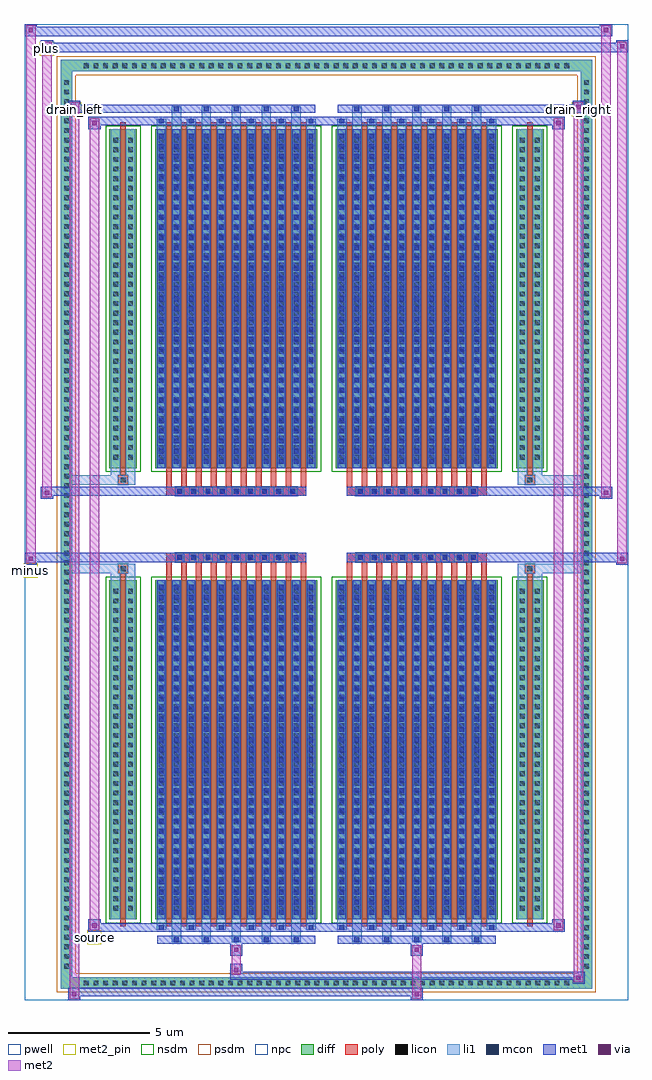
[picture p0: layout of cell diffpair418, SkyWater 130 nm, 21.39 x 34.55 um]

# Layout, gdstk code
import gdstk
lib = gdstk.Library(unit=1e-6, precision=5e-09)
def R(c, l, rs):  # rectangles x0, y0, x1, y1
    for r in rs: c.add(gdstk.rectangle(r[:2], r[2:], *l))
def A(c, l, x, y, w, h, nx, ny, dx, dy):  # array of equal rectangles
    R(c, l, [(x+i*dx, y+j*dy, x+i*dx+w, y+j*dy+h) for i in range(nx) for j in range(ny)])
def P(c, l, *ps):  # polygons
    for p in ps: c.add(gdstk.Polygon(p, *l))
pwell = (64, 44)
diff = (65, 20)
poly = (66, 20)
licon = (66, 44)
li1 = (67, 20)
mcon = (67, 44)
met1 = (68, 20)
via = (68, 44)
met2_pin = (69, 16)
met2 = (69, 20)
nsdm = (93, 44)
psdm = (94, 20)
npc = (95, 20)

diffpair418 = lib.new_cell('diffpair418')
R(diffpair418, pwell, [(-10.68,-16.84,10.68,17.71), (-8,-15.03,-0.01,-0.805), (0.01,-15.03,8,-0.805), (-8,0.805,-0.01,15.03), (0.01,0.805,8,15.03)])
A(diffpair418, diff, -8.705, -16.44, 0.41, 0.41, 51, 2, 0.34, 32.47)
A(diffpair418, diff, -9.41, -15.845, 0.41, 0.41, 1, 93, 0, 0.34)
A(diffpair418, diff, 9, -15.845, 0.41, 0.41, 1, 93, 0, 0.34)
R(diffpair418, diff, [(-8.705,-16.44,8.705,-16.03), (-9.41,-15.845,-9,15.845), (9,-15.845,9.41,15.845), (-7.69,-13.985,-6.71,-1.985), (-6.07,-13.985,-0.32,-1.985), (0.32,-13.985,6.07,-1.985), (6.71,-13.985,7.69,-1.985), (-7.69,1.985,-6.71,13.985), (-6.07,1.985,-0.32,13.985), (0.32,1.985,6.07,13.985), (6.71,1.985,7.69,13.985), (-8.705,16.03,8.705,16.44)])
P(diffpair418, diff, [(9.41,16.44),(-9.41,16.44),(-9.41,-16.03),(-9,-16.03),(-9,16.03),(9,16.03),(9,-16.03),(-9,-16.03),(-9.41,-16.03),(-9.41,-16.44),(9.41,-16.44)])
A(diffpair418, poly, -5.68, -14.235, 0.2, 12.5, 10, 2, 0.53, 15.97)
A(diffpair418, poly, 0.71, -14.235, 0.2, 12.5, 10, 2, 0.53, 15.97)
A(diffpair418, poly, -5.68, -1.735, 0.2, 0.4, 10, 2, 0.53, 3.07)
A(diffpair418, poly, 0.71, -1.735, 0.2, 0.4, 10, 2, 0.53, 3.07)
A(diffpair418, poly, -5.36, -1.335, 0.33, 0.33, 9, 2, 0.5, 2.34)
A(diffpair418, poly, 1.03, -1.335, 0.33, 0.33, 9, 2, 0.5, 2.34)
R(diffpair418, poly, [(-7.3,-14.235,-7.1,-1.735), (7.1,-14.235,7.3,-1.735), (-7.365,-1.735,-7.035,-1.405), (-7.365,-1.735,-7.035,-1.405), (7.035,-1.735,7.365,-1.405), (7.035,-1.735,7.365,-1.405), (-5.68,-1.335,-0.71,-1.005), (0.71,-1.335,5.68,-1.005), (-5.68,1.005,-0.71,1.335), (0.71,1.005,5.68,1.335), (-7.365,1.405,-7.035,1.735), (-7.365,1.405,-7.035,1.735), (7.035,1.405,7.365,1.735), (7.035,1.405,7.365,1.735), (-7.3,1.735,-7.1,14.235), (7.1,1.735,7.3,14.235)])
A(diffpair418, licon, -8.585, -16.32, 0.17, 0.17, 51, 2, 0.34, 32.47)
A(diffpair418, licon, -9.29, -15.725, 0.17, 0.17, 1, 93, 0, 0.34)
A(diffpair418, licon, 9.12, -15.725, 0.17, 0.17, 1, 93, 0, 0.34)
A(diffpair418, licon, -7.55, -13.68, 0.17, 0.17, 1, 34, 0, 0.34)
A(diffpair418, licon, -7.02, -13.68, 0.17, 0.17, 1, 34, 0, 0.34)
A(diffpair418, licon, -5.93, -13.68, 0.17, 0.17, 11, 34, 0.53, 0.34)
A(diffpair418, licon, 0.46, -13.68, 0.17, 0.17, 11, 34, 0.53, 0.34)
A(diffpair418, licon, 6.85, -13.68, 0.17, 0.17, 1, 34, 0, 0.34)
A(diffpair418, licon, 7.38, -13.68, 0.17, 0.17, 1, 34, 0, 0.34)
A(diffpair418, licon, -5.28, -1.255, 0.17, 0.17, 9, 2, 0.5, 2.34)
A(diffpair418, licon, 1.11, -1.255, 0.17, 0.17, 9, 2, 0.5, 2.34)
A(diffpair418, licon, -7.55, 2.29, 0.17, 0.17, 1, 34, 0, 0.34)
A(diffpair418, licon, -7.02, 2.29, 0.17, 0.17, 1, 34, 0, 0.34)
A(diffpair418, licon, -5.93, 2.29, 0.17, 0.17, 11, 34, 0.53, 0.34)
A(diffpair418, licon, 0.46, 2.29, 0.17, 0.17, 11, 34, 0.53, 0.34)
A(diffpair418, licon, 6.85, 2.29, 0.17, 0.17, 1, 34, 0, 0.34)
A(diffpair418, licon, 7.38, 2.29, 0.17, 0.17, 1, 34, 0, 0.34)
R(diffpair418, licon, [(-7.285,-1.655,-7.115,-1.485), (7.115,-1.655,7.285,-1.485), (-7.285,1.485,-7.115,1.655), (7.115,1.485,7.285,1.655)])
A(diffpair418, li1, -8.665, -16.4, 0.33, 0.33, 51, 2, 0.34, 32.47)
A(diffpair418, li1, -9.37, -15.805, 0.33, 0.33, 1, 93, 0, 0.34)
A(diffpair418, li1, 9.04, -15.805, 0.33, 0.33, 1, 93, 0, 0.34)
A(diffpair418, li1, -5.48, -14.79, 0.33, 0.805, 5, 2, 1.06, 28.775)
A(diffpair418, li1, -5.4, -14.79, 0.17, 0.17, 5, 2, 1.06, 29.41)
A(diffpair418, li1, 0.91, -14.79, 0.33, 0.805, 5, 2, 1.06, 28.775)
A(diffpair418, li1, 0.99, -14.79, 0.17, 0.17, 5, 2, 1.06, 29.41)
A(diffpair418, li1, -6.01, -14.36, 0.33, 0.375, 6, 2, 1.06, 28.345)
A(diffpair418, li1, -5.93, -14.36, 0.17, 0.17, 6, 2, 1.06, 28.55)
A(diffpair418, li1, 0.38, -14.36, 0.33, 0.375, 6, 2, 1.06, 28.345)
A(diffpair418, li1, 0.46, -14.36, 0.17, 0.17, 6, 2, 1.06, 28.55)
A(diffpair418, li1, -6.01, -13.985, 0.33, 12, 11, 2, 0.53, 15.97)
A(diffpair418, li1, 0.38, -13.985, 0.33, 12, 11, 2, 0.53, 15.97)
A(diffpair418, li1, -5.93, -13.83, 0.17, 0.17, 11, 33, 0.53, 0.36)
A(diffpair418, li1, -5.93, -13.83, 0.17, 11.69, 11, 2, 0.53, 15.97)
A(diffpair418, li1, 0.46, -13.83, 0.17, 0.17, 11, 33, 0.53, 0.36)
A(diffpair418, li1, 0.46, -13.83, 0.17, 11.69, 11, 2, 0.53, 15.97)
A(diffpair418, li1, -7.63, -13.76, 0.33, 0.33, 1, 34, 0, 0.34)
A(diffpair418, li1, -7.1, -13.76, 0.33, 0.33, 1, 34, 0, 0.34)
A(diffpair418, li1, -6.01, -13.76, 0.33, 0.33, 11, 34, 0.53, 0.34)
A(diffpair418, li1, 0.38, -13.76, 0.33, 0.33, 11, 34, 0.53, 0.34)
A(diffpair418, li1, 6.77, -13.76, 0.33, 0.33, 1, 34, 0, 0.34)
A(diffpair418, li1, 7.3, -13.76, 0.33, 0.33, 1, 34, 0, 0.34)
A(diffpair418, li1, -5.36, -1.335, 0.33, 0.33, 9, 2, 0.5, 2.34)
A(diffpair418, li1, 1.03, -1.335, 0.33, 0.33, 9, 2, 0.5, 2.34)
A(diffpair418, li1, -5.93, 2.14, 0.17, 0.17, 11, 33, 0.53, 0.36)
A(diffpair418, li1, 0.46, 2.14, 0.17, 0.17, 11, 33, 0.53, 0.36)
A(diffpair418, li1, -7.63, 2.21, 0.33, 0.33, 1, 34, 0, 0.34)
A(diffpair418, li1, -7.1, 2.21, 0.33, 0.33, 1, 34, 0, 0.34)
A(diffpair418, li1, -6.01, 2.21, 0.33, 0.33, 11, 34, 0.53, 0.34)
A(diffpair418, li1, 0.38, 2.21, 0.33, 0.33, 11, 34, 0.53, 0.34)
A(diffpair418, li1, 6.77, 2.21, 0.33, 0.33, 1, 34, 0, 0.34)
A(diffpair418, li1, 7.3, 2.21, 0.33, 0.33, 1, 34, 0, 0.34)
R(diffpair418, li1, [(-9.41,-16.44,-9,-16.03), (-9.41,-16.44,-9,-16.03), (-9,-16.44,9,-16.03), (9,-16.44,9.41,-16.03), (9,-16.44,9.41,-16.03), (-9.41,-16.03,-9,16.03), (9,-16.03,9.41,16.03), (-7.63,-13.985,-7.3,-1.985), (-7.1,-13.985,-6.77,-1.985), (6.77,-13.985,7.1,-1.985), (7.3,-13.985,7.63,-1.985), (-7.63,-1.985,-7.3,-1.405), (-7.1,-1.985,-6.77,-1.405), (6.77,-1.985,7.1,-1.405), (7.3,-1.985,7.63,-1.405), (-9.41,-1.735,-7.365,-1.405), (-7.63,-1.735,-7.365,-1.405), (-7.365,-1.735,-7.035,-1.405), (-7.035,-1.735,-6.77,-1.405), (6.77,-1.735,7.035,-1.405), (7.035,-1.735,7.365,-1.405), (7.035,-1.735,9.41,-1.405), (7.365,-1.735,7.63,-1.405), (-9.41,1.405,-7.365,1.735), (-7.63,1.405,-7.365,1.735), (-7.63,1.405,-7.3,1.985), (-7.365,1.405,-7.035,1.735), (-7.1,1.405,-6.77,1.985), (-7.035,1.405,-6.77,1.735), (6.77,1.405,7.035,1.735), (6.77,1.405,7.1,1.985), (7.035,1.405,7.365,1.735), (7.035,1.405,9.41,1.735), (7.3,1.405,7.63,1.985), (7.365,1.405,7.63,1.735), (-7.63,1.985,-7.3,13.985), (-7.1,1.985,-6.77,13.985), (6.77,1.985,7.1,13.985), (7.3,1.985,7.63,13.985), (-9.41,16.03,-9,16.44), (-9.41,16.03,-9,16.44), (-9,16.03,9,16.44), (9,16.03,9.41,16.44), (9,16.03,9.41,16.44)])
A(diffpair418, mcon, -5.4, -14.79, 0.17, 0.17, 5, 2, 1.06, 29.41)
A(diffpair418, mcon, 0.99, -14.79, 0.17, 0.17, 5, 2, 1.06, 29.41)
A(diffpair418, mcon, -5.93, -14.36, 0.17, 0.17, 6, 2, 1.06, 28.55)
A(diffpair418, mcon, 0.46, -14.36, 0.17, 0.17, 6, 2, 1.06, 28.55)
A(diffpair418, mcon, -5.93, -13.83, 0.17, 0.17, 11, 33, 0.53, 0.36)
A(diffpair418, mcon, 0.46, -13.83, 0.17, 0.17, 11, 33, 0.53, 0.36)
A(diffpair418, mcon, -5.28, -1.255, 0.17, 0.17, 9, 2, 0.5, 2.34)
A(diffpair418, mcon, 1.11, -1.255, 0.17, 0.17, 9, 2, 0.5, 2.34)
A(diffpair418, mcon, -5.93, 2.14, 0.17, 0.17, 11, 33, 0.53, 0.36)
A(diffpair418, mcon, 0.46, 2.14, 0.17, 0.17, 11, 33, 0.53, 0.36)
A(diffpair418, met1, -5.46, -14.85, 0.29, 0.29, 5, 2, 1.06, 29.41)
A(diffpair418, met1, 0.93, -14.85, 0.29, 0.29, 5, 2, 1.06, 29.41)
A(diffpair418, met1, -5.99, -14.42, 0.29, 0.29, 6, 2, 1.06, 28.55)
A(diffpair418, met1, 0.4, -14.42, 0.29, 0.29, 6, 2, 1.06, 28.55)
A(diffpair418, met1, -5.99, -13.985, 0.29, 12, 11, 2, 0.53, 15.97)
A(diffpair418, met1, 0.4, -13.985, 0.29, 12, 11, 2, 0.53, 15.97)
A(diffpair418, met1, -5.99, -13.89, 0.29, 0.29, 11, 33, 0.53, 0.36)
A(diffpair418, met1, 0.4, -13.89, 0.29, 0.29, 11, 33, 0.53, 0.36)
A(diffpair418, met1, -5.34, -1.315, 0.29, 0.29, 9, 2, 0.5, 2.34)
A(diffpair418, met1, 1.05, -1.315, 0.29, 0.29, 9, 2, 0.5, 2.34)
A(diffpair418, met1, -5.99, 2.08, 0.29, 0.29, 11, 33, 0.53, 0.36)
A(diffpair418, met1, 0.4, 2.08, 0.29, 0.29, 11, 33, 0.53, 0.36)
R(diffpair418, met1, [(-9.14,-16.84,-8.71,-16.41), (2.98,-16.84,3.41,-16.41), (-9.14,-16.7,3.41,-16.41), (8.71,-16.27,9.14,-15.84), (-3.41,-16.13,9.14,-15.84), (-3.41,-15.99,-2.98,-15.56), (-3.41,-15.28,-2.98,-14.85), (2.98,-15.28,3.41,-14.85), (-5.99,-14.85,-0.4,-14.56), (0.4,-14.85,5.99,-14.56), (-8.43,-14.42,-8,-13.99), (-8.43,-14.42,-5.99,-14.13), (-5.99,-14.42,-0.4,-14.13), (-0.4,-14.42,0.4,-14.13), (0.4,-14.42,5.99,-14.13), (5.99,-14.42,8.43,-14.13), (8,-14.42,8.43,-13.99), (-10.68,-1.435,-10.25,-1.005), (10.25,-1.435,10.68,-1.005), (-10.68,-1.335,-0.71,-1.005), (-5.68,-1.335,-0.71,-1.005), (0.71,-1.335,5.68,-1.005), (0.71,-1.335,10.68,-1.005), (-10.11,0.905,-9.68,1.335), (9.68,0.905,10.11,1.335), (-10.11,1.005,-5.68,1.335), (-5.68,1.005,-0.71,1.335), (0.71,1.005,5.68,1.335), (5.68,1.005,10.11,1.335), (-8.43,13.99,-8,14.42), (8,13.99,8.43,14.42), (-8.43,14.13,-5.99,14.42), (-5.99,14.13,-0.4,14.42), (-0.4,14.13,0.4,14.42), (0.4,14.13,5.99,14.42), (5.99,14.13,8.43,14.42), (-9.14,14.56,-8.71,14.99), (-9.14,14.56,-5.99,14.85), (-5.99,14.56,-0.4,14.85), (0.4,14.56,5.99,14.85), (5.99,14.56,9.14,14.85), (8.71,14.56,9.14,14.99), (-10.11,16.71,-9.68,17.14), (-10.11,16.71,-8,17.04), (-8,16.71,8,17.04), (8,16.71,10.68,17.04), (10.25,16.71,10.68,17.14), (-10.68,17.28,-10.25,17.71), (-10.68,17.28,-8,17.61), (-8,17.28,8,17.61), (8,17.28,10.11,17.61), (9.68,17.28,10.11,17.71)])
R(diffpair418, via, [(-9,-16.7,-8.85,-16.55), (3.12,-16.7,3.27,-16.55), (8.85,-16.13,9,-15.98), (-3.27,-15.85,-3.12,-15.7), (-3.27,-15.14,-3.12,-14.99), (3.12,-15.14,3.27,-14.99), (-8.29,-14.28,-8.14,-14.13), (8.14,-14.28,8.29,-14.13), (-10.54,-1.295,-10.39,-1.145), (10.39,-1.295,10.54,-1.145), (-9.97,1.045,-9.82,1.195), (9.82,1.045,9.97,1.195), (-8.29,14.13,-8.14,14.28), (8.14,14.13,8.29,14.28), (-9,14.7,-8.85,14.85), (8.85,14.7,9,14.85), (-9.97,16.85,-9.82,17), (10.39,16.85,10.54,17), (-10.54,17.42,-10.39,17.57), (9.82,17.42,9.97,17.57)])
R(diffpair418, met2_pin, [(-8.465,-14.87,-7.965,-14.37), (-10.715,-1.885,-10.215,-1.385), (-9.175,14.44,-8.675,14.94), (8.675,14.44,9.175,14.94), (-10.145,16.59,-9.645,17.09)])
R(diffpair418, met2, [(-9.09,-16.79,-8.76,-16.46), (-9.09,-16.79,-8.76,14.94), (3.03,-16.79,3.36,-16.46), (3.03,-16.46,3.36,-15.23), (8.76,-16.22,9.09,-15.89), (8.76,-16.22,9.09,14.94), (-3.36,-15.94,-3.03,-15.61), (-3.36,-15.61,-3.03,-15.23), (-3.36,-15.23,-3.03,-14.9), (3.03,-15.23,3.36,-14.9), (-8.38,-14.37,-8.05,-14.04), (-8.38,-14.37,-8.05,14.37), (8.05,-14.37,8.38,-14.04), (8.05,-14.37,8.38,14.37), (-10.63,-1.385,-10.3,-1.055), (-10.63,-1.385,-10.3,17.66), (10.3,-1.385,10.63,-1.055), (10.3,-1.385,10.63,17.09), (-10.06,0.955,-9.73,1.285), (-10.06,0.955,-9.73,17.09), (9.73,0.955,10.06,1.285), (9.73,0.955,10.06,17.66), (-8.38,14.04,-8.05,14.37), (8.05,14.04,8.38,14.37), (-9.09,14.61,-8.76,14.94), (8.76,14.61,9.09,14.94), (-10.06,16.76,-9.73,17.09), (10.3,16.76,10.63,17.09), (-10.63,17.33,-10.3,17.66), (9.73,17.33,10.06,17.66)])
P(diffpair418, met2, [(10.63,-1.385),(10.63,-1.385),(10.63,-1.055),(10.63,-1.055)],
  [(10.63,16.76),(10.63,16.76),(10.63,17.09),(10.63,17.09)],
  [(-10.3,-1.385),(-10.3,-1.385),(-10.3,-1.055),(-10.3,-1.055)],
  [(-10.3,17.33),(-10.3,17.33),(-10.3,17.66),(-10.3,17.66)],
  [(10.06,0.955),(10.06,0.955),(10.06,1.285),(10.06,1.285)],
  [(10.06,17.33),(10.06,17.33),(10.06,17.66),(10.06,17.66)],
  [(-9.73,0.955),(-9.73,0.955),(-9.73,1.285),(-9.73,1.285)],
  [(-9.73,16.76),(-9.73,16.76),(-9.73,17.09),(-9.73,17.09)],
  [(-8.76,-16.79),(-8.76,-16.79),(-8.76,-16.46),(-8.76,-16.46)],
  [(-8.76,14.61),(-8.76,14.61),(-8.76,14.94),(-8.76,14.94)],
  [(9.09,-16.22),(9.09,-16.22),(9.09,-15.89),(9.09,-15.89)],
  [(9.09,14.61),(9.09,14.61),(9.09,14.94),(9.09,14.94)],
  [(-8.05,-14.37),(-8.05,-14.37),(-8.05,-14.04),(-8.05,-14.04)],
  [(-8.05,14.04),(-8.05,14.04),(-8.05,14.37),(-8.05,14.37)],
  [(8.38,-14.37),(8.38,-14.37),(8.38,-14.04),(8.38,-14.04)],
  [(8.38,14.04),(8.38,14.04),(8.38,14.37),(8.38,14.37)])
R(diffpair418, nsdm, [(-7.82,-14.115,-6.58,-1.855), (-6.2,-14.115,-0.19,-1.855), (0.19,-14.115,6.2,-1.855), (6.58,-14.115,7.82,-1.855), (-7.82,1.855,-6.58,14.115), (-6.2,1.855,-0.19,14.115), (0.19,1.855,6.2,14.115), (6.58,1.855,7.82,14.115)])
P(diffpair418, psdm, [(9.54,16.57),(-9.54,16.57),(-9.54,-15.9),(-8.87,-15.9),(-8.87,15.9),(8.87,15.9),(8.87,-15.9),(-8.87,-15.9),(-9.54,-15.9),(-9.54,-16.57),(9.54,-16.57)])
A(diffpair418, npc, -5.38, -1.355, 0.37, 0.37, 9, 2, 0.5, 2.34)
A(diffpair418, npc, 1.01, -1.355, 0.37, 0.37, 9, 2, 0.5, 2.34)
R(diffpair418, npc, [(-7.385,-1.755,-7.015,-1.385), (7.015,-1.755,7.385,-1.385), (-5.38,-1.355,-4.51,-0.985), (-5.38,-1.355,-4.51,-0.985), (-4.88,-1.355,-4.01,-0.985), (-4.88,-1.355,-4.01,-0.985), (-4.38,-1.355,-3.51,-0.985), (-4.38,-1.355,-3.51,-0.985), (-3.88,-1.355,-3.01,-0.985), (-3.88,-1.355,-3.01,-0.985), (-3.38,-1.355,-2.51,-0.985), (-3.38,-1.355,-2.51,-0.985), (-2.88,-1.355,-2.01,-0.985), (-2.88,-1.355,-2.01,-0.985), (-2.38,-1.355,-1.51,-0.985), (-2.38,-1.355,-1.51,-0.985), (-1.88,-1.355,-1.01,-0.985), (-1.88,-1.355,-1.01,-0.985), (1.01,-1.355,1.88,-0.985), (1.01,-1.355,1.88,-0.985), (1.51,-1.355,2.38,-0.985), (1.51,-1.355,2.38,-0.985), (2.01,-1.355,2.88,-0.985), (2.01,-1.355,2.88,-0.985), (2.51,-1.355,3.38,-0.985), (2.51,-1.355,3.38,-0.985), (3.01,-1.355,3.88,-0.985), (3.01,-1.355,3.88,-0.985), (3.51,-1.355,4.38,-0.985), (3.51,-1.355,4.38,-0.985), (4.01,-1.355,4.88,-0.985), (4.01,-1.355,4.88,-0.985), (4.51,-1.355,5.38,-0.985), (4.51,-1.355,5.38,-0.985), (-5.38,0.985,-4.51,1.355), (-5.38,0.985,-4.51,1.355), (-4.88,0.985,-4.01,1.355), (-4.88,0.985,-4.01,1.355), (-4.38,0.985,-3.51,1.355), (-4.38,0.985,-3.51,1.355), (-3.88,0.985,-3.01,1.355), (-3.88,0.985,-3.01,1.355), (-3.38,0.985,-2.51,1.355), (-3.38,0.985,-2.51,1.355), (-2.88,0.985,-2.01,1.355), (-2.88,0.985,-2.01,1.355), (-2.38,0.985,-1.51,1.355), (-2.38,0.985,-1.51,1.355), (-1.88,0.985,-1.01,1.355), (-1.88,0.985,-1.01,1.355), (1.01,0.985,1.88,1.355), (1.01,0.985,1.88,1.355), (1.51,0.985,2.38,1.355), (1.51,0.985,2.38,1.355), (2.01,0.985,2.88,1.355), (2.01,0.985,2.88,1.355), (2.51,0.985,3.38,1.355), (2.51,0.985,3.38,1.355), (3.01,0.985,3.88,1.355), (3.01,0.985,3.88,1.355), (3.51,0.985,4.38,1.355), (3.51,0.985,4.38,1.355), (4.01,0.985,4.88,1.355), (4.01,0.985,4.88,1.355), (4.51,0.985,5.38,1.355), (4.51,0.985,5.38,1.355), (-7.385,1.385,-7.015,1.755), (7.015,1.385,7.385,1.755)])
diffpair418.add(gdstk.Label('minus', (-10.465,-1.635), layer=69, texttype=5))
diffpair418.add(gdstk.Label('drain_right', (8.925,14.69), layer=69, texttype=5))
diffpair418.add(gdstk.Label('drain_left', (-8.925,14.69), layer=69, texttype=5))
diffpair418.add(gdstk.Label('source', (-8.215,-14.62), layer=69, texttype=5))
diffpair418.add(gdstk.Label('plus', (-9.895,16.84), layer=69, texttype=5))

lib.write_gds('diffpair418.gds')
